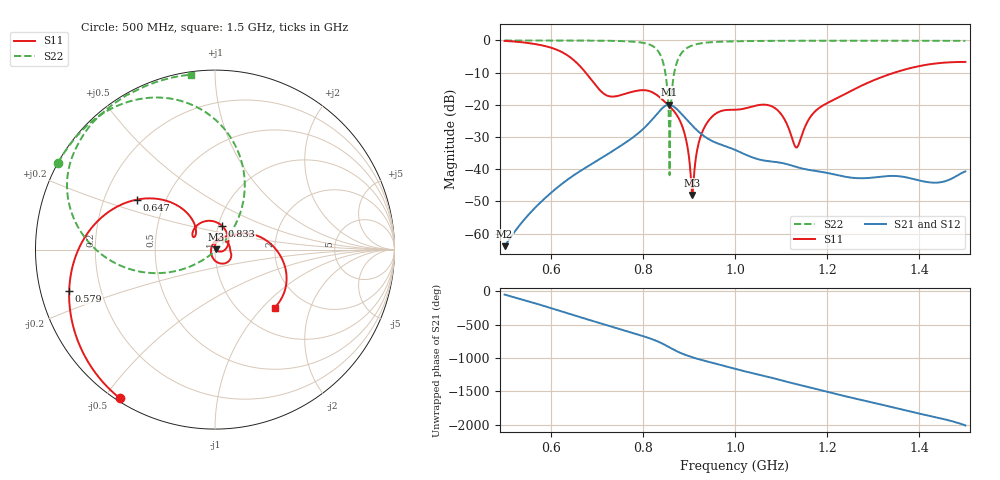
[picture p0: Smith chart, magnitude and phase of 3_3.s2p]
! TOUCHSTONE file generated by CST MICROWAVE STUDIO
! Date and time: Fri Oct  2 16:40:41 2020
! Project name: Scenario_1_Free_Space_out_of_line.cst
! Parameters = {Lambda=346.42; Step_1=17.321; dy1=312.958; dx1=520; L_HA=400; MT=2.54; Rad_Dielectric=30; Rad_Lower=7.3; Rad_Upper=30; a_HA=580; a_WG=246; b_HA=500; b_WG=121; c_HA=0; c_WG=187; d_feed=85; h_feed=15; h_lower=18; h_upper=40}
! Header version: 2018
! Port assignment regex: !\s*Touchstone port\s*([0-9]+)\s*=\s*(CST MWS port|CST DS port)\s*([0-9]+|Zmin|Zmax)\s*\(\"(.*)\"\)(\s*mode\s*([0-9]+))?.*
! Touchstone port assignment:
! Touchstone port 1 = CST MWS port 1 ("")
! Touchstone port 2 = CST MWS port 2 ("")
# GHz S DB R 50
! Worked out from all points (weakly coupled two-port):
!   1003 points, 500 MHz to 1.5 GHz, reference 50 ohm
!   highest |S21| = -19.99 dB at 857 MHz (marker M1); lowest = -63.9 dB at 500 MHz (marker M2)
!   lowest |S11| = -48.0 dB at 907 MHz (marker M3), VSWR 1.01, Z = 50.4 + j0.148 ohm
!   |S11| at or under -10 dB: 675.9 MHz to 1.346 GHz (670.3 MHz wide, 66.3 % of centre)
!   |S22| runs from -41.9 to 0.0 dB; largest |S21 - S12| = 2.3e-05
!   S11 on the Smith chart (normalised r, x): 500 MHz: 0.01, -0.55; 579 MHz: 0.09, -0.14; 647 MHz: 0.34, +0.26; 833 MHz: 1.05, +0.28; 1.5 GHz: 1.43, -1.17
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0.5  -0.15 -122.6  -63.93 -51.1  -63.93 -51.1  -0.01 151.1
0.579  -1.46 -164.1  -50.18 151.7  -50.18 151.7  -0.01 145.6
0.647  -5.76 147.2  -42.20 6.1  -42.20 6.1  -0.03 140.2
0.667  -8.52 134.2  -40.32 -36.3  -40.32 -36.3  -0.04 138.3
0.724  -17.23 140.8  -35.31 -153.2  -35.31 -153.2  -0.11 131.6
0.791  -15.54 128.7  -28.72 67.5  -28.72 67.5  -0.55 116.7
0.833  -17.25 72.9  -22.44 -35.1  -22.44 -35.1  -3.29 86.4
0.834  -17.37 71.5  -22.28 -38.2  -22.28 -38.2  -3.50 85.1
0.848  -19.12 51.9  -20.38 -85.8  -20.38 -85.8  -9.38 61.5
0.857  -20.34 39.2  -19.99 -120.0  -19.99 -120.0  -27.93 35.6
0.874  -23.26 11.8  -21.37 178.8  -21.37 178.8  -6.76 -165.2
0.892  -29.73 -20.3  -24.11 126.6  -24.11 126.6  -2.75 174.7
0.907  -48.01 21.7  -26.43 90.8  -26.43 90.8  -1.57 164.6
0.922  -31.44 89.0  -28.49 59.9  -28.49 59.9  -1.00 157.6
0.938  -25.91 68.0  -30.24 30.4  -30.24 30.4  -0.67 152.2
1  -21.54 1.4  -34.01 -82.1  -34.01 -82.1  -0.27 140.2
1.084  -20.78 -58.5  -37.70 135.3  -37.70 135.3  -0.13 131.1
1.133  -33.28 173.2  -39.30 47.6  -39.30 47.6  -0.11 126.9
1.167  -23.12 67.7  -40.38 -8.9  -40.38 -8.9  -0.10 124.1
1.334  -10.58 9.1  -42.12 74.5  -42.11 74.4  -0.09 111.4
1.439  -7.10 -26.0  -44.18 -93.0  -44.18 -92.9  -0.11 103.1
1.5  -6.68 -44.2  -40.70 149.1  -40.70 149.2  -0.14 97.9
